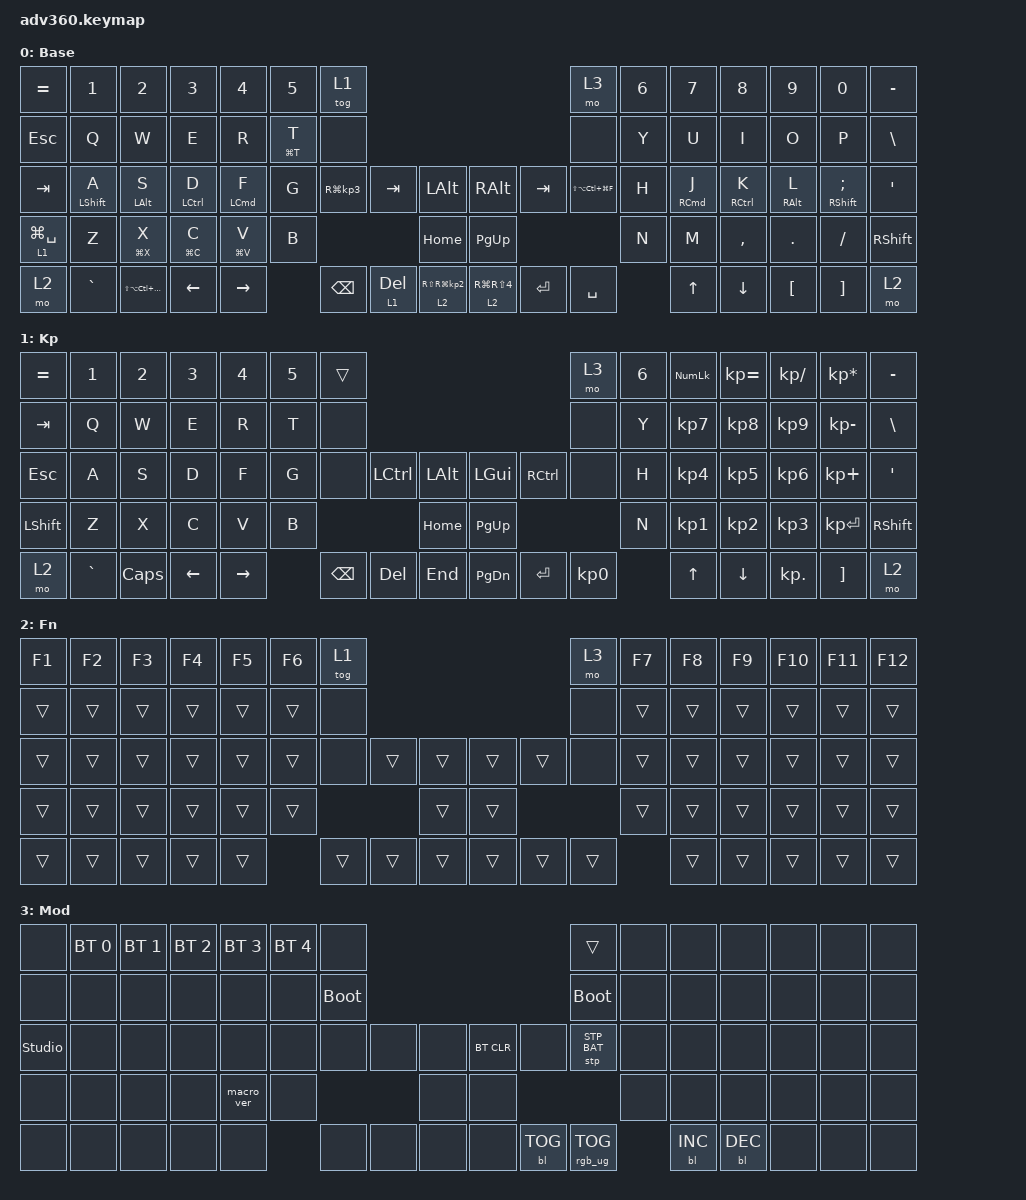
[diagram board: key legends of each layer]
#include <dt-bindings/zmk/stp.h>
#include <behaviors.dtsi>
#include <dt-bindings/zmk/backlight.h>
#include <dt-bindings/zmk/bt.h>
#include <dt-bindings/zmk/keys.h>
#include <dt-bindings/zmk/rgb.h>

/ {
    behaviors {
        #include "macros.dtsi"
      #include "version.dtsi"

        hm: homerow_mods {
            compatible = "zmk,behavior-hold-tap";
            label = "HOMEROW_MODS";
            #binding-cells = <2>;
            tapping-term-ms = <200>;
            quick_tap_ms = <175>;
            flavor = "tap-preferred";
            bindings = <&kp>, <&kp>;
        };

        shortcuts: shortcuts {
            compatible = "zmk,behavior-hold-tap";
            label = "SHORTCUTS";
            bindings = <&kp>, <&kp>;

            #binding-cells = <2>;
            tapping-term-ms = <179>;
            flavor = "tap-preferred";
        };
    };

    keymap {
        compatible = "zmk,keymap";

        default_layer {
            display-name = "Base";
            bindings = <
&kp EQUAL        &kp N1            &kp N2                    &kp N3              &kp N4              &kp N5              &tog 1                                                                                            &mo 3                  &kp N6  &kp N7               &kp N8               &kp N9           &kp N0                     &kp MINUS
&kp ESCAPE       &kp Q             &kp W                     &kp E               &kp R               &shortcuts LG(T) T  &none                                                                                             &none                  &kp Y   &kp U                &kp I                &kp O            &kp P                      &kp BSLH
&kp TAB          &hm LEFT_SHIFT A  &hm LEFT_ALT S            &hm LEFT_CONTROL D  &hm LEFT_COMMAND F  &kp G               &kp RG(KP_NUMBER_3)  &kp TAB    &kp LALT                       &kp RIGHT_ALT           &kp TAB    &kp LS(LA(LC(LG(F))))  &kp H   &hm RIGHT_COMMAND J  &hm RIGHT_CONTROL K  &hm RIGHT_ALT L  &hm RIGHT_SHIFT SEMICOLON  &kp SQT
&lt 1 LG(SPACE)  &kp Z             &shortcuts LG(X) X        &shortcuts LG(C) C  &shortcuts LG(V) V  &kp B                                               &kp HOME                       &kp PG_UP                                                 &kp N   &kp M                &kp COMMA            &kp DOT          &kp FSLH                   &kp RSHFT
&mo 2            &kp GRAVE         &kp LS(LA(LC(LG(CAPS))))  &kp LEFT            &kp RIGHT                               &kp BSPC             &lt 1 DEL  &lt 2 RS(RG(KP_NUMBER_2))      &lt 2 RG(RS(NUMBER_4))  &kp ENTER  &kp SPACE                      &kp UP               &kp DOWN             &kp LBKT         &kp RBKT                   &mo 2
            >;
        };

        keypad {
            display-name = "Kp";
            bindings = <
&kp EQUAL  &kp N1     &kp N2    &kp N3    &kp N4     &kp N5  &trans                                                   &mo 3      &kp N6  &kp KP_NUM  &kp KP_EQUAL  &kp KP_DIVIDE  &kp KP_MULTIPLY  &kp MINUS
&kp TAB    &kp Q      &kp W     &kp E     &kp R      &kp T   &none                                                    &none      &kp Y   &kp KP_N7   &kp KP_N8     &kp KP_N9      &kp KP_MINUS     &kp BSLH
&kp ESC    &kp A      &kp S     &kp D     &kp F      &kp G   &none     &kp LCTRL  &kp LALT      &kp LGUI   &kp RCTRL  &none      &kp H   &kp KP_N4   &kp KP_N5     &kp KP_N6      &kp KP_PLUS      &kp SQT
&kp LSHFT  &kp Z      &kp X     &kp C     &kp V      &kp B                        &kp HOME      &kp PG_UP                        &kp N   &kp KP_N1   &kp KP_N2     &kp KP_N3      &kp KP_ENTER     &kp RSHFT
&mo 2      &kp GRAVE  &kp CAPS  &kp LEFT  &kp RIGHT          &kp BSPC  &kp DEL    &kp END       &kp PG_DN  &kp ENTER  &kp KP_N0          &kp UP      &kp DOWN      &kp KP_DOT     &kp RBKT         &mo 2
            >;
        };

        fn {
            display-name = "Fn";
            bindings = <
&kp F1  &kp F2  &kp F3  &kp F4  &kp F5  &kp F6  &tog 1                                      &mo 3   &kp F7  &kp F8  &kp F9  &kp F10  &kp F11  &kp F12
&trans  &trans  &trans  &trans  &trans  &trans  &none                                       &none   &trans  &trans  &trans  &trans   &trans   &trans
&trans  &trans  &trans  &trans  &trans  &trans  &none   &trans  &trans      &trans  &trans  &none   &trans  &trans  &trans  &trans   &trans   &trans
&trans  &trans  &trans  &trans  &trans  &trans                  &trans      &trans                  &trans  &trans  &trans  &trans   &trans   &trans
&trans  &trans  &trans  &trans  &trans          &trans  &trans  &trans      &trans  &trans  &trans          &trans  &trans  &trans   &trans   &trans
            >;
        };

        mod {
            display-name = "Mod";
            bindings = <
&none           &bt BT_SEL 0  &bt BT_SEL 1  &bt BT_SEL 2  &bt BT_SEL 3  &bt BT_SEL 4  &none                                                  &trans           &none  &none       &none       &none  &none  &none
&none           &none         &none         &none         &none         &none         &bootloader                                            &bootloader      &none  &none       &none       &none  &none  &none
&studio_unlock  &none         &none         &none         &none         &none         &none        &none  &none      &bt BT_CLR  &none       &stp STP_BAT     &none  &none       &none       &none  &none  &none
&none           &none         &none         &none         &macro_ver    &none                             &none      &none                                    &none  &none       &none       &none  &none  &none
&none           &none         &none         &none         &none                       &none        &none  &none      &none       &bl BL_TOG  &rgb_ug RGB_TOG         &bl BL_INC  &bl BL_DEC  &none  &none  &none
            >;
        };
    };
};
